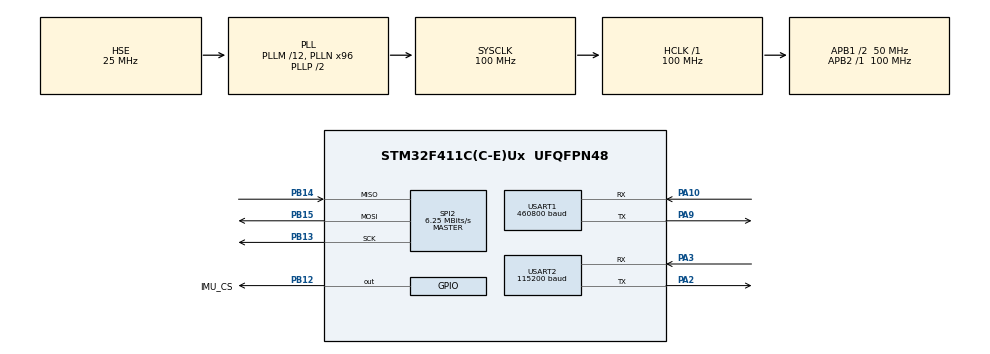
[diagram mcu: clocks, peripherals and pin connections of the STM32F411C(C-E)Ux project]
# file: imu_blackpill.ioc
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Dma.Request0=USART1_TX
Dma.USART1_TX.0.Direction=DMA_MEMORY_TO_PERIPH
Dma.USART1_TX.0.FIFOMode=DMA_FIFOMODE_DISABLE
Dma.USART1_TX.0.Instance=DMA2_Stream7
Dma.USART1_TX.0.MemDataAlignment=DMA_MDATAALIGN_BYTE
Dma.USART1_TX.0.MemInc=DMA_MINC_ENABLE
Dma.USART1_TX.0.Mode=DMA_NORMAL
Dma.USART1_TX.0.PeriphDataAlignment=DMA_PDATAALIGN_BYTE
Dma.USART1_TX.0.PeriphInc=DMA_PINC_DISABLE
Dma.USART1_TX.0.Priority=DMA_PRIORITY_LOW
Mcu.Family=STM32F4
Mcu.Name=STM32F411C(C-E)Ux
Mcu.Package=UFQFPN48
NVIC.DMA2_Stream7_IRQn=true\:0\:0\:false\:false\:true\:false\:true\:true
NVIC.PriorityGroup=NVIC_PRIORITYGROUP_4
NVIC.TIM3_IRQn=true\:1\:0\:false\:false\:true\:true\:true\:true
NVIC.USART1_IRQn=true\:0\:0\:false\:false\:true\:true\:true\:true
PA10.Mode=Asynchronous
PA10.Signal=USART1_RX
PA13.Mode=Serial_Wire
PA13.Signal=SYS_JTMS-SWDIO
PA14.Mode=Serial_Wire
PA14.Signal=SYS_JTCK-SWCLK
PA2.Mode=Asynchronous
PA2.Signal=USART2_TX
PA3.Mode=Asynchronous
PA3.Signal=USART2_RX
PA9.Mode=Asynchronous
PA9.Signal=USART1_TX
PB12.GPIO_Label=IMU_CS
PB12.GPIO_Speed=GPIO_SPEED_FREQ_VERY_HIGH
PB12.PinState=GPIO_PIN_SET
PB12.Signal=GPIO_Output
PB13.Mode=Full_Duplex_Master
PB13.Signal=SPI2_SCK
PB14.Mode=Full_Duplex_Master
PB14.Signal=SPI2_MISO
PB15.Mode=Full_Duplex_Master
PB15.Signal=SPI2_MOSI
PH0\ -\ OSC_IN.Mode=HSE-External-Oscillator
PH0\ -\ OSC_IN.Signal=RCC_OSC_IN
PH1\ -\ OSC_OUT.Mode=HSE-External-Oscillator
PH1\ -\ OSC_OUT.Signal=RCC_OSC_OUT
ProjectManager.HeapSize=0x200
ProjectManager.StackSize=0x400
ProjectManager.TargetToolchain=STM32CubeIDE
RCC.48MHZClocksFreq_Value=50000000
RCC.AHBFreq_Value=100000000
RCC.APB1CLKDivider=RCC_HCLK_DIV2
RCC.APB1Freq_Value=50000000
RCC.APB1TimFreq_Value=100000000
RCC.APB2Freq_Value=100000000
RCC.APB2TimFreq_Value=100000000
RCC.CortexFreq_Value=100000000
RCC.HCLKFreq_Value=100000000
RCC.HSE_VALUE=25000000
RCC.HSI_VALUE=16000000
RCC.LSE_VALUE=32768
RCC.PLLM=12
RCC.PLLN=96
RCC.PLLSourceVirtual=RCC_PLLSOURCE_HSE
RCC.SYSCLKFreq_VALUE=100000000
RCC.SYSCLKSource=RCC_SYSCLKSOURCE_PLLCLK
RCC.VCOOutputFreq_Value=200000000
SPI2.BaudRatePrescaler=SPI_BAUDRATEPRESCALER_8
SPI2.CLKPhase=SPI_PHASE_2EDGE
SPI2.CLKPolarity=SPI_POLARITY_HIGH
SPI2.CalculateBaudRate=6.25 MBits/s
SPI2.Direction=SPI_DIRECTION_2LINES
SPI2.Mode=SPI_MODE_MASTER
SPI2.VirtualType=VM_MASTER
STMicroelectronics.X-CUBE-ALGOBUILD.1.5.0.LibraryCcDSPOoLibraryJjDSPOoLibrary=true
TIM3.Period=976
TIM3.Prescaler=99
USART1.BaudRate=460800
USART1.VirtualMode=VM_ASYNC
USART2.BaudRate=115200
USART2.VirtualMode=VM_ASYNC
VP_STMicroelectronics.X-CUBE-ALGOBUILD_VS_DSPOoLibraryJjLibrary_1.5.0_1.5.0.Mode=DSPOoLibraryJjLibrary
VP_TIM3_VS_ClockSourceINT.Mode=Internal
board=custom

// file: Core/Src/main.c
/* USER CODE BEGIN Header */
/**
 ******************************************************************************
 * @file           : main.c
 * @brief          : Main program body
 ******************************************************************************
 * @attention
 *
 * Copyright (c) 2026 STMicroelectronics.
 * All rights reserved.
 *
 * This software is licensed under terms that can be found in the LICENSE file
 * in the root directory of this software component.
 * If no LICENSE file comes with this software, it is provided AS-IS.
 *
 ******************************************************************************
 */
/* USER CODE END Header */
#include "main.h"

/* USER CODE BEGIN Includes */
#include "icm20948.h"
#include "fft_processor.h"
#include "uart_output.h"
#include "app_config.h"
#include "signal_filter_config.h"
#ifdef APP_MAVLINK_ENABLED
#include "mavlink_service.h"
#endif
/* USER CODE END Includes */

/* USER CODE BEGIN PD */
#define REQUIRED_SENSOR_COMPONENTS APP_REQUIRED_SENSOR_COMPONENTS
/* USER CODE END PD */

SPI_HandleTypeDef hspi2;

TIM_HandleTypeDef htim3;

UART_HandleTypeDef huart1;
UART_HandleTypeDef huart2;
DMA_HandleTypeDef hdma_usart1_tx;

/* USER CODE BEGIN PV */
ICM20948 imu;
ImuSensor imu_sensor;
AccelerometerData accelerometer_raw_data;
AccelerometerData accelerometer_filtered_data;
GyroscopeData gyroscope_data;
MagnetometerData magnetometer_data;
ImuCalibrationData calibration_data;
FFT_Processor fft_raw_processor[APP_ACCEL_AXIS_COUNT];
FFT_Processor fft_handled_processor[APP_ACCEL_AXIS_COUNT];
FFT_Result fft_raw_result[APP_ACCEL_AXIS_COUNT];
FFT_Result fft_handled_result[APP_ACCEL_AXIS_COUNT];
uint8_t fft_output_counter;
uint8_t fft_ready_axes_mask;
SignalFilterChain accelerometer_filter[APP_ACCEL_AXIS_COUNT];
volatile uint32_t accelerometer_comparison_time_ms;
volatile float accelerometer_comparison_raw_value[APP_ACCEL_AXIS_COUNT];
volatile float accelerometer_comparison_handled_value[APP_ACCEL_AXIS_COUNT];

#define FFT_OUTPUT_DECIMATION 4
UART_Output uart_output;
#ifdef APP_MAVLINK_ENABLED
MAVLink_Service mavlink_service;
#endif

/* USER CODE END PV */

void SystemClock_Config(void);
static void MX_GPIO_Init(void);
static void MX_DMA_Init(void);
static void MX_SPI2_Init(void);
static void MX_USART1_UART_Init(void);
static void MX_TIM3_Init(void);
static void MX_USART2_UART_Init(void);

int main(void)
{

  /* MCU Configuration--------------------------------------------------------*/

  /* Reset of all peripherals, Initializes the Flash interface and the Systick. */
  HAL_Init();

  /* Configure the system clock */
  SystemClock_Config();

  /* Initialize all configured peripherals */
  MX_GPIO_Init();
  MX_DMA_Init();
  MX_SPI2_Init();
  MX_USART1_UART_Init();
  MX_TIM3_Init();
  MX_USART2_UART_Init();
  /* USER CODE BEGIN 2 */
	HAL_Delay(100);
	ICM20948_Create(&imu, &hspi2, IMU_CS_GPIO_Port, IMU_CS_Pin);
	ICM20948_Bind(&imu_sensor, &imu);
	for (uint8_t axis = 0U; axis < APP_ACCEL_AXIS_COUNT; axis++) {
		FFT_Processor_Init(&fft_raw_processor[axis],
				APP_ACCEL_FFT_REMOVE_MEAN);
		FFT_Processor_Init(&fft_handled_processor[axis],
				APP_ACCEL_FFT_REMOVE_MEAN);
		if (!SignalFilterChain_Init(&accelerometer_filter[axis],
				&accelerometer_filter_config)) {
			Error_Handler();
		}
	}
	UART_Output_Init(&uart_output, &huart1);
#ifdef APP_MAVLINK_ENABLED
	MAVLink_Service_Init(&mavlink_service, &huart2);
#endif
#if APP_UART_STATUS_STREAM_ENABLED
	UART_Output_Status(&uart_output, "initializing sensor components");
#endif

	if (ImuSensor_Init(&imu_sensor, REQUIRED_SENSOR_COMPONENTS)) {
#if APP_UART_STATUS_STREAM_ENABLED
		UART_Output_Status(&uart_output, "sensor components initialized");
#endif
		if (REQUIRED_SENSOR_COMPONENTS
				& (SENSOR_ACCELEROMETER | SENSOR_GYROSCOPE)) {
#if APP_UART_STATUS_STREAM_ENABLED
			UART_Output_Status(&uart_output, "calibrating");
#endif
			if (!ImuSensor_Calibrate(&imu_sensor, &calibration_data)) {
				UART_Output_Error(&uart_output, "calibration failed",
				REQUIRED_SENSOR_COMPONENTS, imu_sensor.initialized_components);
			} else {
#if APP_UART_STATUS_STREAM_ENABLED
				UART_Output_FilterStatus(&uart_output, "calibration complete",
						&accelerometer_filter_config);
				UART_Output_Status(&uart_output, "streaming");
#endif
				HAL_TIM_Base_Start_IT(&htim3);
			}
		} else {
#if APP_UART_STATUS_STREAM_ENABLED
			UART_Output_Status(&uart_output, "streaming");
#endif
			HAL_TIM_Base_Start_IT(&htim3);
		}
	} else {
		UART_Output_Error(&uart_output, "sensor initialization failed",
		REQUIRED_SENSOR_COMPONENTS, imu_sensor.initialized_components);
	}

  /* USER CODE END 2 */

  /* Infinite loop */
  /* USER CODE BEGIN WHILE */
	while (1) {
		UART_Output_Process(&uart_output);

		for (uint8_t axis = 0U; axis < APP_ACCEL_AXIS_COUNT; axis++) {
			uint8_t axis_mask = (uint8_t) (1U << axis);
			if ((fft_ready_axes_mask & axis_mask) == 0U
					&& fft_raw_processor[axis].ready
					&& fft_handled_processor[axis].ready) {
				uint8_t raw_fft_ready = FFT_Processor_Process(
						&fft_raw_processor[axis], &fft_raw_result[axis]);
				uint8_t handled_fft_ready = FFT_Processor_Process(
						&fft_handled_processor[axis],
						&fft_handled_result[axis]);
				if (raw_fft_ready && handled_fft_ready) {
					fft_ready_axes_mask |= axis_mask;
				}
			}
		}

		if (fft_ready_axes_mask == APP_ACCEL_ALL_AXES_MASK) {
			fft_ready_axes_mask = 0U;
#if APP_UART_LEGACY_IMU_STREAM_ENABLED
			UART_Output_SensorData(&uart_output,
					(imu_sensor.initialized_components & SENSOR_ACCELEROMETER) ?
							&accelerometer_filtered_data : 0,
					(imu_sensor.initialized_components & SENSOR_GYROSCOPE) ?
							&gyroscope_data : 0,
					(imu_sensor.initialized_components & SENSOR_MAGNETOMETER) ?
							&magnetometer_data : 0);
#endif
#if APP_UART_ACCEL_COMPARISON_STREAM_ENABLED
			uint32_t interrupt_state = __get_PRIMASK();
			uint32_t comparison_time_ms;
			float comparison_raw_value[APP_ACCEL_AXIS_COUNT];
			float comparison_handled_value[APP_ACCEL_AXIS_COUNT];

			__disable_irq();
			comparison_time_ms = accelerometer_comparison_time_ms;
			for (uint8_t axis = 0U; axis < APP_ACCEL_AXIS_COUNT; axis++) {
				comparison_raw_value[axis] =
						accelerometer_comparison_raw_value[axis];
				comparison_handled_value[axis] =
						accelerometer_comparison_handled_value[axis];
			}
			if (interrupt_state == 0U) {
				__enable_irq();
			}

			UART_Output_AccelerometerComparison(&uart_output,
					comparison_time_ms, comparison_raw_value,
					comparison_handled_value);
#endif
#if APP_UART_FFT_STREAM_ENABLED
			fft_output_counter++;
			if (fft_output_counter >= FFT_OUTPUT_DECIMATION) {
				fft_output_counter = 0;
				for (uint8_t axis = 0U; axis < APP_ACCEL_AXIS_COUNT; axis++) {
					UART_Output_FFTComparison(&uart_output, axis,
							&fft_raw_result[axis], &fft_handled_result[axis]);
				}
			}
#endif
		}

#ifdef APP_MAVLINK_ENABLED
		MAVLink_Service_Process(&mavlink_service, &magnetometer_data);
#endif
    /* USER CODE END WHILE */

	}
}

void SystemClock_Config(void)
{
  RCC_OscInitTypeDef RCC_OscInitStruct = {0};
  RCC_ClkInitTypeDef RCC_ClkInitStruct = {0};

  /** Configure the main internal regulator output voltage
  */
  __HAL_RCC_PWR_CLK_ENABLE();
  __HAL_PWR_VOLTAGESCALING_CONFIG(PWR_REGULATOR_VOLTAGE_SCALE1);

  /** Initializes the RCC Oscillators according to the specified parameters
  * in the RCC_OscInitTypeDef structure.
  */
  RCC_OscInitStruct.OscillatorType = RCC_OSCILLATORTYPE_HSE;
  RCC_OscInitStruct.HSEState = RCC_HSE_ON;
  RCC_OscInitStruct.PLL.PLLState = RCC_PLL_ON;
  RCC_OscInitStruct.PLL.PLLSource = RCC_PLLSOURCE_HSE;
  RCC_OscInitStruct.PLL.PLLM = 12;
  RCC_OscInitStruct.PLL.PLLN = 96;
  RCC_OscInitStruct.PLL.PLLP = RCC_PLLP_DIV2;
  RCC_OscInitStruct.PLL.PLLQ = 4;
  if (HAL_RCC_OscConfig(&RCC_OscInitStruct) != HAL_OK)
  {
    Error_Handler();
  }

  /** Initializes the CPU, AHB and APB buses clocks
  */
  RCC_ClkInitStruct.ClockType = RCC_CLOCKTYPE_HCLK|RCC_CLOCKTYPE_SYSCLK
                              |RCC_CLOCKTYPE_PCLK1|RCC_CLOCKTYPE_PCLK2;
  RCC_ClkInitStruct.SYSCLKSource = RCC_SYSCLKSOURCE_PLLCLK;
  RCC_ClkInitStruct.AHBCLKDivider = RCC_SYSCLK_DIV1;
  RCC_ClkInitStruct.APB1CLKDivider = RCC_HCLK_DIV2;
  RCC_ClkInitStruct.APB2CLKDivider = RCC_HCLK_DIV1;

  if (HAL_RCC_ClockConfig(&RCC_ClkInitStruct, FLASH_LATENCY_3) != HAL_OK)
  {
    Error_Handler();
  }
}

static void MX_SPI2_Init(void)
{

  /* SPI2 parameter configuration*/
  hspi2.Instance = SPI2;
  hspi2.Init.Mode = SPI_MODE_MASTER;
  hspi2.Init.Direction = SPI_DIRECTION_2LINES;
  hspi2.Init.DataSize = SPI_DATASIZE_8BIT;
  hspi2.Init.CLKPolarity = SPI_POLARITY_HIGH;
  hspi2.Init.CLKPhase = SPI_PHASE_2EDGE;
  hspi2.Init.NSS = SPI_NSS_SOFT;
  hspi2.Init.BaudRatePrescaler = SPI_BAUDRATEPRESCALER_8;
  hspi2.Init.FirstBit = SPI_FIRSTBIT_MSB;
  hspi2.Init.TIMode = SPI_TIMODE_DISABLE;
  hspi2.Init.CRCCalculation = SPI_CRCCALCULATION_DISABLE;
  hspi2.Init.CRCPolynomial = 10;
  if (HAL_SPI_Init(&hspi2) != HAL_OK)
  {
    Error_Handler();
  }

}

static void MX_TIM3_Init(void)
{

  TIM_ClockConfigTypeDef sClockSourceConfig = {0};
  TIM_MasterConfigTypeDef sMasterConfig = {0};

  htim3.Instance = TIM3;
  htim3.Init.Prescaler = 99;
  htim3.Init.CounterMode = TIM_COUNTERMODE_UP;
  htim3.Init.Period = 976;
  htim3.Init.ClockDivision = TIM_CLOCKDIVISION_DIV1;
  htim3.Init.AutoReloadPreload = TIM_AUTORELOAD_PRELOAD_DISABLE;
  if (HAL_TIM_Base_Init(&htim3) != HAL_OK)
  {
    Error_Handler();
  }
  sClockSourceConfig.ClockSource = TIM_CLOCKSOURCE_INTERNAL;
  if (HAL_TIM_ConfigClockSource(&htim3, &sClockSourceConfig) != HAL_OK)
  {
    Error_Handler();
  }
  sMasterConfig.MasterOutputTrigger = TIM_TRGO_RESET;
  sMasterConfig.MasterSlaveMode = TIM_MASTERSLAVEMODE_DISABLE;
  if (HAL_TIMEx_MasterConfigSynchronization(&htim3, &sMasterConfig) != HAL_OK)
  {
    Error_Handler();
  }

}

static void MX_USART1_UART_Init(void)
{

  huart1.Instance = USART1;
  huart1.Init.BaudRate = 460800;
  huart1.Init.WordLength = UART_WORDLENGTH_8B;
  huart1.Init.StopBits = UART_STOPBITS_1;
  huart1.Init.Parity = UART_PARITY_NONE;
  huart1.Init.Mode = UART_MODE_TX_RX;
  huart1.Init.HwFlowCtl = UART_HWCONTROL_NONE;
  huart1.Init.OverSampling = UART_OVERSAMPLING_16;
  if (HAL_UART_Init(&huart1) != HAL_OK)
  {
    Error_Handler();
  }

}

static void MX_USART2_UART_Init(void)
{

  /* USER CODE BEGIN USART2_Init 0 */
#ifndef APP_MAVLINK_ENABLED
	return;
#endif

  /* USER CODE END USART2_Init 0 */

  huart2.Instance = USART2;
  huart2.Init.BaudRate = 115200;
  huart2.Init.WordLength = UART_WORDLENGTH_8B;
  huart2.Init.StopBits = UART_STOPBITS_1;
  huart2.Init.Parity = UART_PARITY_NONE;
  huart2.Init.Mode = UART_MODE_TX_RX;
  huart2.Init.HwFlowCtl = UART_HWCONTROL_NONE;
  huart2.Init.OverSampling = UART_OVERSAMPLING_16;
  if (HAL_UART_Init(&huart2) != HAL_OK)
  {
    Error_Handler();
  }

}

static void MX_DMA_Init(void)
{

  /* DMA controller clock enable */
  __HAL_RCC_DMA2_CLK_ENABLE();

  /* DMA interrupt init */
  /* DMA2_Stream7_IRQn interrupt configuration */
  HAL_NVIC_SetPriority(DMA2_Stream7_IRQn, 0, 0);
  HAL_NVIC_EnableIRQ(DMA2_Stream7_IRQn);

}

static void MX_GPIO_Init(void)
{
  GPIO_InitTypeDef GPIO_InitStruct = {0};

  /* GPIO Ports Clock Enable */
  __HAL_RCC_GPIOH_CLK_ENABLE();
  __HAL_RCC_GPIOA_CLK_ENABLE();
  __HAL_RCC_GPIOB_CLK_ENABLE();

  /*Configure GPIO pin Output Level */
  HAL_GPIO_WritePin(IMU_CS_GPIO_Port, IMU_CS_Pin, GPIO_PIN_SET);

  /*Configure GPIO pin : IMU_CS_Pin */
  GPIO_InitStruct.Pin = IMU_CS_Pin;
  GPIO_InitStruct.Mode = GPIO_MODE_OUTPUT_PP;
  GPIO_InitStruct.Pull = GPIO_NOPULL;
  GPIO_InitStruct.Speed = GPIO_SPEED_FREQ_VERY_HIGH;
  HAL_GPIO_Init(IMU_CS_GPIO_Port, &GPIO_InitStruct);

}

/* USER CODE BEGIN 4 */
void HAL_TIM_PeriodElapsedCallback(TIM_HandleTypeDef *htim) {
	if (htim->Instance == TIM3) {
		if (ImuSensor_ReadAccelerometer(&imu_sensor, &accelerometer_raw_data)) {
			for (uint8_t axis = 0U; axis < APP_ACCEL_AXIS_COUNT; axis++) {
				accelerometer_filtered_data.acceleration[axis] =
						SignalFilterChain_Process(&accelerometer_filter[axis],
								accelerometer_raw_data.acceleration[axis]);
				accelerometer_comparison_raw_value[axis] =
						accelerometer_raw_data.acceleration[axis];
				accelerometer_comparison_handled_value[axis] =
						accelerometer_filtered_data.acceleration[axis];
				FFT_Processor_AddSample(&fft_raw_processor[axis],
						accelerometer_raw_data.acceleration[axis]);
				FFT_Processor_AddSample(&fft_handled_processor[axis],
						accelerometer_filtered_data.acceleration[axis]);
			}
			accelerometer_filtered_data.valid = accelerometer_raw_data.valid;
			accelerometer_comparison_time_ms = HAL_GetTick();
		}
		if (imu_sensor.initialized_components & SENSOR_GYROSCOPE) {
			ImuSensor_ReadGyroscope(&imu_sensor, &gyroscope_data);
		}
		if (imu_sensor.initialized_components & SENSOR_MAGNETOMETER) {
			ImuSensor_ReadMagnetometer(&imu_sensor, &magnetometer_data);
		}
	}
}

void HAL_UART_TxCpltCallback(UART_HandleTypeDef *huart) {
	if (huart == uart_output.uart) {
		UART_Output_TxComplete(&uart_output);
	}
}

void HAL_UART_ErrorCallback(UART_HandleTypeDef *huart) {
	if (huart == uart_output.uart) {
		UART_Output_TxError(&uart_output);
	}
}
/* USER CODE END 4 */

void Error_Handler(void)
{
	__disable_irq();
	while (1) {
	}
}
